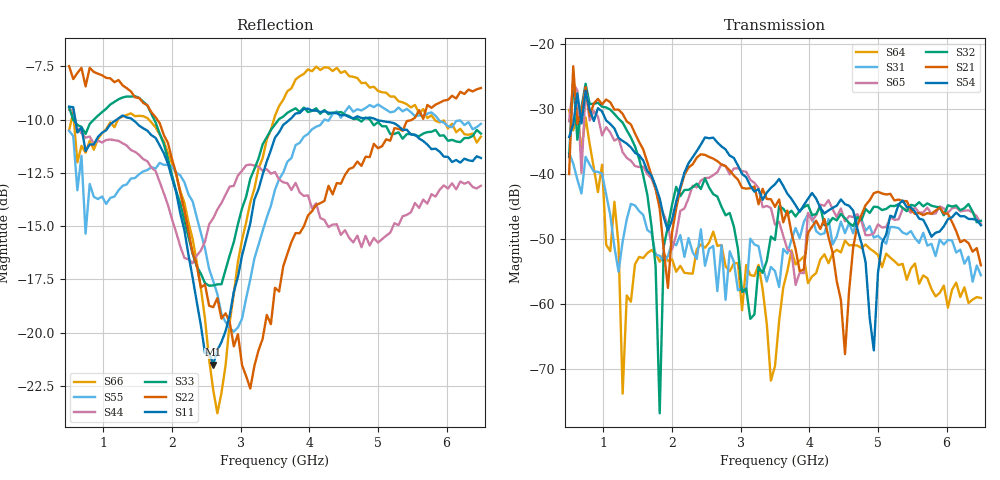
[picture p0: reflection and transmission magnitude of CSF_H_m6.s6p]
!Keysight Technologies,M9804A,MY58100912,A.14.10.03
!Date: Thursday, April 27, 2023 10:28:33
!Correction: S11(C  6-Port  )
!S12(C  6-Port  )
!S13(C  6-Port  )
!S14(C  6-Port  )
!S15(C  6-Port  )
!S16(C  6-Port  )
!S21(C  6-Port  )
!S22(C  6-Port  )
!S23(C  6-Port  )
!S24(C  6-Port  )
!S25(C  6-Port  )
!S26(C  6-Port  )
!S31(C  6-Port  )
!S32(C  6-Port  )
!S33(C  6-Port  )
!S34(C  6-Port  )
!S35(C  6-Port  )
!S36(C  6-Port  )
!S41(C  6-Port  )
!S42(C  6-Port  )
!S43(C  6-Port  )
!S44(C  6-Port  )
!S45(C  6-Port  )
!S46(C  6-Port  )
!S51(C  6-Port  )
!S52(C  6-Port  )
!S53(C  6-Port  )
!S54(C  6-Port  )
!S55(C  6-Port  )
!S56(C  6-Port  )
!S61(C  6-Port  )
!S62(C  6-Port  )
!S63(C  6-Port  )
!S64(C  6-Port  )
!S65(C  6-Port  )
!S66(C  6-Port  )
!S6P File: Measurement: :
# Hz S  RI  R 50
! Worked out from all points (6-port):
!   101 points, 500 MHz to 6.5 GHz, reference 50 ohm
!   strongest paths, dB at 500 MHz, 2 GHz, 3.5 GHz, 5 GHz, 6.5 GHz:
!     S54: -34.3, -47.1, -41.5, -55.2, -47.9
!     S21: -40.0, -48.9, -45.0, -42.7, -54.0
!     S32: -37.3, -44.7, -50.1, -45.1, -47.2
!     S65: -31.8, -51.6, -47.8, -47.7, -47.6
!     S31: -36.7, -50.5, -54.9, -49.5, -55.6
!     S64: -30.1, -53.1, -69.6, -52.4, -59.1
!   lowest |S11| = -21.5 dB at 2.6 GHz (marker M1), VSWR 1.18, Z = 42.5 + j2.18 ohm
!   |S11| at or under -10 dB: 589.4 MHz to 1.193 GHz (603.6 MHz wide, 67.7 % of centre); 1.424 GHz to 3.714 GHz (2.291 GHz wide, 89.2 % of centre); 4.978 GHz to end of sweep
